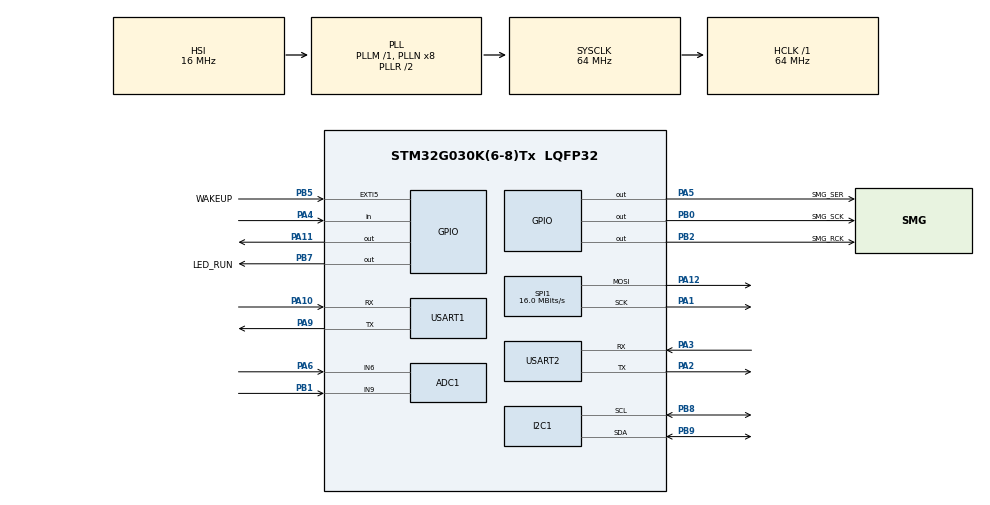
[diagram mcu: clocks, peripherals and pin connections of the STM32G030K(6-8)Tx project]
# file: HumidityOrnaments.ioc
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ADC1.Channel-0\#ChannelRegularConversion=ADC_CHANNEL_6
ADC1.Channel-1\#ChannelRegularConversion=ADC_CHANNEL_9
ADC1.Channel-2\#ChannelRegularConversion=ADC_CHANNEL_TEMPSENSOR
ADC1.Channel-3\#ChannelRegularConversion=ADC_CHANNEL_VREFINT
ADC1.Channel-4\#ChannelRegularConversion=ADC_CHANNEL_VBAT
ADC1.ContinuousConvMode=ENABLE
ADC1.DMAContinuousRequests=ENABLE
ADC1.NbrOfConversion=5
ADC1.NbrOfConversionFlag=1
ADC1.Rank-1\#ChannelRegularConversion=2
ADC1.Rank-2\#ChannelRegularConversion=3
ADC1.Rank-3\#ChannelRegularConversion=4
ADC1.Rank-4\#ChannelRegularConversion=5
ADC1.SamplingTime-1\#ChannelRegularConversion=ADC_SAMPLINGTIME_COMMON_1
ADC1.SamplingTime-2\#ChannelRegularConversion=ADC_SAMPLINGTIME_COMMON_1
ADC1.SamplingTime-3\#ChannelRegularConversion=ADC_SAMPLINGTIME_COMMON_1
ADC1.SamplingTime-4\#ChannelRegularConversion=ADC_SAMPLINGTIME_COMMON_1
ADC1.SamplingTimeCommon1=ADC_SAMPLETIME_160CYCLES_5
ADC1.SamplingTimeCommon2=ADC_SAMPLETIME_160CYCLES_5
ADC1.SelectedChannel=ADC_CHANNEL_6|ADC_CHANNEL_TEMPSENSOR|ADC_CHANNEL_VREFINT|ADC_CHANNEL_9|ADC_CHANNEL_VBAT
ADC1.master=1
Dma.ADC1.0.Direction=DMA_PERIPH_TO_MEMORY
Dma.ADC1.0.EventEnable=DISABLE
Dma.ADC1.0.Instance=DMA1_Channel1
Dma.ADC1.0.MemDataAlignment=DMA_MDATAALIGN_HALFWORD
Dma.ADC1.0.MemInc=DMA_MINC_ENABLE
Dma.ADC1.0.Mode=DMA_CIRCULAR
Dma.ADC1.0.PeriphDataAlignment=DMA_PDATAALIGN_HALFWORD
Dma.ADC1.0.PeriphInc=DMA_PINC_DISABLE
Dma.ADC1.0.Polarity=HAL_DMAMUX_REQ_GEN_RISING
Dma.ADC1.0.Priority=DMA_PRIORITY_MEDIUM
Dma.ADC1.0.RequestNumber=1
Dma.ADC1.0.SignalID=NONE
Dma.ADC1.0.SyncEnable=DISABLE
Dma.ADC1.0.SyncPolarity=HAL_DMAMUX_SYNC_NO_EVENT
Dma.ADC1.0.SyncRequestNumber=1
Dma.ADC1.0.SyncSignalID=NONE
Dma.Request0=ADC1
Dma.Request1=SPI1_TX
Dma.Request2=USART2_TX
Dma.Request3=USART2_RX
Dma.SPI1_TX.1.Direction=DMA_MEMORY_TO_PERIPH
Dma.SPI1_TX.1.EventEnable=DISABLE
Dma.SPI1_TX.1.Instance=DMA1_Channel5
Dma.SPI1_TX.1.MemDataAlignment=DMA_MDATAALIGN_BYTE
Dma.SPI1_TX.1.MemInc=DMA_MINC_ENABLE
Dma.SPI1_TX.1.Mode=DMA_NORMAL
Dma.SPI1_TX.1.PeriphDataAlignment=DMA_PDATAALIGN_BYTE
Dma.SPI1_TX.1.PeriphInc=DMA_PINC_DISABLE
Dma.SPI1_TX.1.Polarity=HAL_DMAMUX_REQ_GEN_RISING
Dma.SPI1_TX.1.Priority=DMA_PRIORITY_LOW
Dma.SPI1_TX.1.RequestNumber=1
Dma.SPI1_TX.1.SignalID=NONE
Dma.SPI1_TX.1.SyncEnable=DISABLE
Dma.SPI1_TX.1.SyncPolarity=HAL_DMAMUX_SYNC_NO_EVENT
Dma.SPI1_TX.1.SyncRequestNumber=1
Dma.SPI1_TX.1.SyncSignalID=NONE
Dma.USART2_RX.3.Direction=DMA_PERIPH_TO_MEMORY
Dma.USART2_RX.3.EventEnable=DISABLE
Dma.USART2_RX.3.Instance=DMA1_Channel3
Dma.USART2_RX.3.MemDataAlignment=DMA_MDATAALIGN_BYTE
Dma.USART2_RX.3.MemInc=DMA_MINC_ENABLE
Dma.USART2_RX.3.Mode=DMA_NORMAL
Dma.USART2_RX.3.PeriphDataAlignment=DMA_PDATAALIGN_BYTE
Dma.USART2_RX.3.PeriphInc=DMA_PINC_DISABLE
Dma.USART2_RX.3.Polarity=HAL_DMAMUX_REQ_GEN_RISING
Dma.USART2_RX.3.Priority=DMA_PRIORITY_LOW
Dma.USART2_RX.3.RequestNumber=1
Dma.USART2_RX.3.SignalID=NONE
Dma.USART2_RX.3.SyncEnable=DISABLE
Dma.USART2_RX.3.SyncPolarity=HAL_DMAMUX_SYNC_NO_EVENT
Dma.USART2_RX.3.SyncRequestNumber=1
Dma.USART2_RX.3.SyncSignalID=NONE
Dma.USART2_TX.2.Direction=DMA_MEMORY_TO_PERIPH
Dma.USART2_TX.2.EventEnable=DISABLE
Dma.USART2_TX.2.Instance=DMA1_Channel2
Dma.USART2_TX.2.MemDataAlignment=DMA_MDATAALIGN_BYTE
Dma.USART2_TX.2.MemInc=DMA_MINC_ENABLE
Dma.USART2_TX.2.Mode=DMA_NORMAL
Dma.USART2_TX.2.PeriphDataAlignment=DMA_PDATAALIGN_BYTE
Dma.USART2_TX.2.PeriphInc=DMA_PINC_DISABLE
Dma.USART2_TX.2.Polarity=HAL_DMAMUX_REQ_GEN_RISING
Dma.USART2_TX.2.Priority=DMA_PRIORITY_LOW
Dma.USART2_TX.2.RequestNumber=1
Dma.USART2_TX.2.SignalID=NONE
Dma.USART2_TX.2.SyncEnable=DISABLE
Dma.USART2_TX.2.SyncPolarity=HAL_DMAMUX_SYNC_NO_EVENT
Dma.USART2_TX.2.SyncRequestNumber=1
Dma.USART2_TX.2.SyncSignalID=NONE
I2C1.Timing=0x10B17DB5
Mcu.Family=STM32G0
Mcu.Name=STM32G030K(6-8)Tx
Mcu.Package=LQFP32
NVIC.ADC1_IRQn=true\:0\:0\:false\:false\:true\:true\:true\:true
NVIC.DMA1_Ch4_5_DMAMUX1_OVR_IRQn=true\:0\:0\:false\:false\:true\:false\:true\:true
NVIC.DMA1_Channel1_IRQn=true\:0\:0\:false\:false\:true\:false\:true\:true
NVIC.DMA1_Channel2_3_IRQn=true\:0\:0\:false\:false\:true\:false\:true\:true
NVIC.EXTI4_15_IRQn=true\:1\:0\:true\:false\:true\:true\:true\:true
NVIC.RTC_TAMP_IRQn=true\:1\:0\:true\:false\:true\:true\:true\:true
NVIC.TIM14_IRQn=true\:0\:0\:false\:false\:true\:true\:true\:true
NVIC.TIM16_IRQn=true\:0\:0\:false\:false\:true\:true\:true\:true
NVIC.TIM3_IRQn=true\:0\:0\:false\:false\:true\:true\:true\:true
NVIC.USART1_IRQn=true\:1\:0\:true\:false\:true\:true\:true\:true
NVIC.USART2_IRQn=true\:1\:0\:true\:false\:true\:true\:true\:true
PA1.Mode=TX_Only_Simplex_Unidirect_Master
PA1.Signal=SPI1_SCK
PA10.Mode=Asynchronous
PA10.Signal=USART1_RX
PA11\ [PA9].Signal=GPIO_Output
PA12\ [PA10].Mode=TX_Only_Simplex_Unidirect_Master
PA12\ [PA10].Signal=SPI1_MOSI
PA13.Mode=Serial_Wire
PA13.Signal=SYS_SWDIO
PA14-BOOT0.Mode=Serial_Wire
PA14-BOOT0.Signal=SYS_SWCLK
PA2.Mode=Asynchronous
PA2.Signal=USART2_TX
PA3.Mode=Asynchronous
PA3.Signal=USART2_RX
PA4.GPIO_PuPd=GPIO_PULLUP
PA4.Signal=GPIO_Input
PA5.GPIO_Label=SMG_SER
PA5.GPIO_Speed=GPIO_SPEED_FREQ_HIGH
PA5.Signal=GPIO_Output
PA6.Mode=IN6
PA6.Signal=ADC1_IN6
PA9.Mode=Asynchronous
PA9.Signal=USART1_TX
PB0.GPIO_Label=SMG_SCK
PB0.GPIO_Speed=GPIO_SPEED_FREQ_HIGH
PB0.Signal=GPIO_Output
PB1.Mode=IN9
PB1.Signal=ADC1_IN9
PB2.GPIO_Label=SMG_RCK
PB2.GPIO_Speed=GPIO_SPEED_FREQ_HIGH
PB2.Signal=GPIO_Output
PB5.GPIO_Label=WAKEUP
PB5.GPIO_ModeDefaultEXTI=GPIO_MODE_IT_FALLING
PB5.GPIO_PuPd=GPIO_PULLUP
PB5.Signal=GPXTI5
PB7.GPIO_Label=LED_RUN
PB7.Signal=GPIO_Output
PB8.Mode=I2C
PB8.Signal=I2C1_SCL
PB9.Mode=I2C
PB9.Signal=I2C1_SDA
PC14-OSC32_IN\ (PC14).Mode=LSE-External-Oscillator
PC14-OSC32_IN\ (PC14).Signal=RCC_OSC32_IN
PC15-OSC32_OUT\ (PC15).Mode=LSE-External-Oscillator
PC15-OSC32_OUT\ (PC15).Signal=RCC_OSC32_OUT
ProjectManager.HeapSize=0x200
ProjectManager.StackSize=0x400
ProjectManager.TargetToolchain=MDK-ARM V5.32
RCC.ADCFreq_Value=64000000
RCC.AHBFreq_Value=64000000
RCC.CortexFreq_Value=64000000
RCC.EXTERNAL_CLOCK_VALUE=12288000
RCC.EnableCSSLSE=true
RCC.HCLKFreq_Value=64000000
RCC.HSE_VALUE=8000000
RCC.HSI_VALUE=16000000
RCC.RTCClockSelection=RCC_RTCCLKSOURCE_LSE
RCC.SYSCLKFreq_VALUE=64000000
RCC.SYSCLKSource=RCC_SYSCLKSOURCE_PLLCLK
RCC.VCOOutputFreq_Value=128000000
RTC.Date=23
RTC.Format=RTC_FORMAT_BIN
RTC.Hours=15
RTC.Minutes=23
RTC.Month=RTC_MONTH_JULY
RTC.WakeUpClock-WakeUp=RTC_WAKEUPCLOCK_CK_SPRE_16BITS
RTC.WeekDay=RTC_WEEKDAY_TUESDAY
RTC.Year=24
SPI1.BaudRatePrescaler=SPI_BAUDRATEPRESCALER_4
SPI1.CLKPhase=SPI_PHASE_2EDGE
SPI1.CLKPolarity=SPI_POLARITY_HIGH
SPI1.CalculateBaudRate=16.0 MBits/s
SPI1.Direction=SPI_DIRECTION_2LINES
SPI1.Mode=SPI_MODE_MASTER
SPI1.VirtualType=VM_MASTER
TIM14.AutoReloadPreload=TIM_AUTORELOAD_PRELOAD_ENABLE
TIM14.Period=100-1
TIM14.Prescaler=6400-1
TIM16.AutoReloadPreload=TIM_AUTORELOAD_PRELOAD_ENABLE
TIM16.Period=20-1
TIM16.Prescaler=6400-1
TIM3.Prescaler=64-1
USART1.VirtualMode-Asynchronous=VM_ASYNC
USART2.VirtualMode-Asynchronous=VM_ASYNC
VP_ADC1_TempSens_Input.Mode=IN-TempSens
VP_ADC1_Vbat_Input.Mode=IN-Vbat
VP_ADC1_Vref_Input.Mode=IN-Vrefint
VP_RTC_VS_RTC_Activate.Mode=RTC_Enabled
VP_RTC_VS_RTC_Calendar.Mode=RTC_Calendar
VP_RTC_VS_RTC_WakeUp_intern.Mode=WakeUp
VP_TIM14_VS_ClockSourceINT.Mode=Enable_Timer
VP_TIM16_VS_ClockSourceINT.Mode=Enable_Timer
VP_TIM1_VS_ClockSourceINT.Mode=Internal
VP_TIM3_VS_ClockSourceINT.Mode=Internal
board=custom

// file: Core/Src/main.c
/* USER CODE BEGIN Header */
/**
 ******************************************************************************
 * @file           : main.c
 * @brief          : Main program body
 ******************************************************************************
 * @attention
 *
 * Copyright (c) 2024 STMicroelectronics.
 * All rights reserved.
 *
 * This software is licensed under terms that can be found in the LICENSE file
 * in the root directory of this software component.
 * If no LICENSE file comes with this software, it is provided AS-IS.
 *
 ******************************************************************************
 */
/* USER CODE END Header */
#include "main.h"
#include "adc.h"
#include "dma.h"
#include "i2c.h"
#include "rtc.h"
#include "spi.h"
#include "tim.h"
#include "usart.h"
#include "gpio.h"

/* USER CODE BEGIN Includes */
#include "LED.h"
#include "Key.h"
#include "stdio.h" //包含printf函数的头文件
#include <string.h>
#include "SHT40.h"
#include "SN74HC595.h"
#include "MCUTEMP.h"
#include <math.h>
#include "ws2812.h"

/* USER CODE END Includes */

/* USER CODE BEGIN PV */
/*
 * TIM3: us延时函数
 * TIM14: 100Hz任务调度
 * TIM16: 1000Hz数码管刷新
 */
/*i2c1*/
float temperature, humidity;
/*TIM14*/
uint8_t flag_TIM14;   // 100HZd==0.01s==10ms update interrupt
uint8_t EVENT_500ms;  // 500ms==50*flag_TIM1 update SMG
uint8_t EVENT_700ms;  // 700ms==70*flag_TIM1 Read SHT40
uint8_t EVENT_900ms;  // 900ms==90*flag_TIM1 print all DATA
uint8_t EVENT_1100ms; // 1100ms==110*flag_TIM1 SLPEE PWR_SLEEP
/*SN74HC595*/
uint8_t LED6[6];             // 显示缓存
uint8_t display_index;       // 显示位索引
uint16_t SIG_tem = 0;        // display temperature £¬ÐèÒªÈ¡Î»£¬%£¬ÐèÒªÕûÐÍ
uint16_t SIG_hum = 0;        // display humidity
uint16_t SIG_vol = 0;        // display voltage
uint16_t voltagePercent = 0; // 电压百分比
uint8_t display_flag = 0x00; // 显示标志位
/*KEY*/
uint8_t KEY_EVENT = 0x00; // 按键事件
/*ADC*/
#define INTERVREFINT 1.22       // 参考电压
#define CHANNELNUM 5            // 通道5
uint16_t ADC_value[CHANNELNUM]; // DMA传输ADC采集值变量内存数量
uint16_t VREFINT_CAL;
/*
*cubemx中的Rank就是DMA的通道对应的ADC通道
[0]:ADC1_IN6 PA6 光强
[1]:ADC1_IN9 PB1 电池电压
[2]:Temperature Sensor Channel
[3]:Vrefint Channel
[4]:Vbat Channel
*/
float voltageValue[CHANNELNUM];
float vrefint = 0;
float mcutem = 0;

/*SLEEP*/
// 功能设计：开机默认运行3500ms(保证运行3次EVENT_1100ms事件)
//--->关闭TIM0,TIM1定时中断，停止ADC_DMA(SLEEP模式外设仍工作，手动停止)，关闭SYSTICK中断，进入PWR_SLEEP模式，关灯，设置挡位错开
//--->控制SN74HC595的输出，使得LED6的显示全部关闭
//--->等待WFI触发退出SLEEP，恢复系统时钟中断，恢复TIM0,TIM1定时中断，开启ADC_DMA，开启SYSTICK中断，打开LED，设置挡位正常
#define SLEEP_COUNTDOWN 10 // 睡眠倒计时，或说睡眠前显示的倒计回合数
uint8_t flag_SLEEP = 0;    // 睡眠标志
uint8_t EVENT_1100ms_cnt = 0;

/*BULETOOTH*/
uint8_t receiveData[50];   // 接收数据
char txData[] = "AT+VERS"; // 数据
uint8_t SUM = 0;
extern DMA_HandleTypeDef hdma_usart2_tx;
extern DMA_HandleTypeDef hdma_usart2_rx;

/*KEYCHANGE*/
typedef enum
{
  MODE1,
  MODE2,
  MODE3
} DisplayMode;

DisplayMode currentMode = MODE1;

/*RTC*/
// uint8_t TimeStr[20];

// uint8_t proBuffer[10];
// uint8_t rxBuffer[10];
/* USER CODE END PV */

void SystemClock_Config(void);

/* USER CODE BEGIN 0 */
/*__RE-CODE printf()__*/
UART_HandleTypeDef *current_huart = &huart1;
int fputc(int ch, FILE *f)
{
  uint8_t temp[1] = {ch};
  HAL_UART_Transmit(current_huart, temp, 1, 2);
  return ch;
}

/*TIM*/
void HAL_TIM_PeriodElapsedCallback(TIM_HandleTypeDef *htim)
{
  if (htim->Instance == htim14.Instance)
  {
    flag_TIM14 = 1;
    if (EVENT_1100ms_cnt >= SLEEP_COUNTDOWN)
    {
      flag_SLEEP = 1;
    }
  }
  if (htim->Instance == htim16.Instance)
  {
    Display_Scan();
  }
}

/*WEAK(注意只有一个中断线)*/
// 0x01:KEY_WAKEUP_GPIO_Port, KEY_WAKEUP_Pin, KEY_WAKEUP_EXTI_IRQn  -----EXIT line15 interrupt PB5
// 0x02:KEY_GPIO_Port, KEY_Pin, KEY_UP_EXTI_IRQn  -----EXIT line7 interrupt PA7
#define KEY_EVENT_WAKE_STATUS() HAL_GPIO_ReadPin(WAKEUP_GPIO_Port, WAKEUP_Pin) // 消抖标志位
// #define KEY_EVENT_STATUS() HAL_GPIO_ReadPin(KEY_GPIO_Port, KEY_Pin)            // 消抖标志位

/*按内部电压转换各个通道的校准值*/
void convertCALvoltage(void)
{
  uint8_t i;
  vrefint = INTERVREFINT / ADC_value[3]; // 首先读取VREF的电压对应的ADC值，又已知STM32F103C8T6内部电压值默认为1.2V，因此读取到的数值和默认值做比例算术，可以获得一个比值，这个比例将作为其他通道的换算比例，实现使用内部参考电压校准其他ADC采样通道
  for (i = 0; i < CHANNELNUM; i++)
  {
    /* code */
    voltageValue[i] = (float)ADC_value[i] * vrefint; // 校准ADC采样值，得到实际电压
    mcutem = (ADC_value[2] - 1042) * (1 / 2.5) + 30;
    double absolute_value = fabs(mcutem);
    mcutem = (float)absolute_value;
  }
}

uint16_t Get_VREFINT_CAL(void)
{
  return *(__IO uint16_t *)(0x1FFF75A8);
}

void SMG_Display(uint8_t display_flag)
{
  uint16_t SIG_tem = 0; // display temperature
  uint16_t SIG_hum = 0; // display humidity
  // uint16_t SIG_vol = 0; // display voltage
  switch (display_flag)
  {
  case 0x00: // 显示温湿度
    SIG_tem = temperature * 10;
    SIG_hum = humidity * 10;
    LED6[3] = (uint8_t)(SIG_tem / 100);
    LED6[4] = (uint8_t)((SIG_tem % 100) / 10);
    LED6[4] |= 0x20; // 显示小数点
    LED6[5] = (uint8_t)(SIG_tem % 10);

    LED6[0] = (uint8_t)(SIG_hum / 100);
    LED6[1] = (uint8_t)((SIG_hum % 100) / 10);
    LED6[1] |= 0x20; // 显示小数点
    LED6[2] = (uint8_t)(SIG_hum % 10);
    break;
  case 0x01: // 显示电量和光强
    LED6[3] = SIG_vol / 100;
    LED6[3] |= 0x20; // 显示小数点
    LED6[4] = SIG_vol / 10 % 10;
    LED6[5] = SIG_vol % 10;

    LED6[0] = (uint8_t)(voltagePercent / 100);
    LED6[1] = (uint8_t)((voltagePercent % 100) / 10);
    LED6[1] |= 0x20; // 显示小数点
    LED6[2] = (uint8_t)(voltagePercent % 10);
    // LED6[0] = (uint8_t)(voltageValue[0] / 1000);
    // LED6[1] = (uint8_t)(voltageValue[0] / 100 % 10);
    // LED6[2] = (uint8_t)(voltageValue[0] / 10 % 10);
    break;
  case 0x02: // 显示上位机发送的时间
    // LED6[3] = 0x10;
    // // LED6[4] = proBuffer[0];
    // // LED6[4] |= 0x20; // 显示小数点
    // LED6[5] = proBuffer[1];

    // LED6[0] = 0x10;
    // LED6[1] = proBuffer[2];
    // LED6[2] = proBuffer[3];
    break;
  default:
    LED6_RST();
    break;
  }
}

void HAL_UARTEx_RxEventCallback(UART_HandleTypeDef *huart, uint16_t Size)
{
  if (huart == &huart2)
  {
    HAL_UART_Transmit_DMA(&huart2, receiveData, Size);
    HAL_UARTEx_ReceiveToIdle_DMA(&huart2, receiveData, sizeof(receiveData)); // 串口不定长数据接收
    __HAL_DMA_DISABLE_IT(&hdma_usart2_rx, DMA_IT_HT);                        // 关闭DMA接收过半中断
  }
}

/* USER CODE END 0 */

int main(void)
{

  /* USER CODE BEGIN 1 */
  uint8_t i;
  /* USER CODE END 1 */

  /* MCU Configuration--------------------------------------------------------*/

  /* Reset of all peripherals, Initializes the Flash interface and the Systick. */
  HAL_Init();

  /* Configure the system clock */
  SystemClock_Config();

  /* Initialize all configured peripherals */
  MX_GPIO_Init();
  MX_DMA_Init();
  MX_TIM1_Init();
  MX_USART1_UART_Init();
  MX_RTC_Init();
  MX_TIM3_Init();
  MX_ADC1_Init();
  MX_I2C1_Init();
  MX_TIM14_Init();
  MX_TIM16_Init();
  MX_USART2_UART_Init();
  MX_SPI1_Init();
  /* USER CODE BEGIN 2 */
  // 初始化LED
  LED_Init(0x00);
  // 初始化串口
  // uint8_t hello1[] = "Hello,blocking\n";
  // HAL_UART_Transmit(&huart1, hello1, sizeof(hello1), 500); // 阻塞式发送
  // HAL_Delay(10);
  // uint8_t hello2[] = "Hello, none blocking\n";
  // HAL_UART_Transmit_IT(&huart1, hello2, sizeof(hello2)); // 非阻塞式发送

  // HAL_UART_Receive_IT(&huart1, rxBuffer, RX_CMD_LEN); // 串口不定长数据接收
  HAL_UART_AbortTransmit(&huart1);
  // HAL_UART_AbortTransmit(&huart2);
  /*注意一定要启动定时器中断，使能TIM1-NVIC*/
  HAL_TIM_Base_Start_IT(&htim14);
  HAL_TIM_Base_Start_IT(&htim16);
  HAL_TIM_Base_Start_IT(&htim3);
  HAL_TIM_Base_Start_IT(&htim1);
  /*SN74HC595*/
  for (i = 0; i < 6; i++)
    LED6[i] = DIS_BLACK; // 上电消隐
  /*ADC*/
  HAL_ADCEx_Calibration_Start(&hadc1);     // 校准ADC
  HAL_NVIC_DisableIRQ(DMA1_Channel1_IRQn); // DMA1通道1使能
  HAL_ADC_Start_DMA(&hadc1, (uint32_t *)ADC_value, 5);
  // VREFINT_CAL=Get_VREFINT_CAL();
  HAL_Delay(100); // 等待ADC校准完成
  /*bluetooth*/
  HAL_UARTEx_ReceiveToIdle_DMA(&huart2, receiveData, sizeof(receiveData)); // 串口不定长数据接收
  __HAL_DMA_DISABLE_IT(&hdma_usart2_tx, DMA_IT_HT);                        // 关闭DMA接收过半中断
  // PRINTF_HC05("HC05 init\r\n");
  /* USER CODE END 2 */

  /* Infinite loop */
  /* USER CODE BEGIN WHILE */
  while (1)
  {
    if (1 == flag_TIM14)
    {
      flag_TIM14 = 0;
      if (++EVENT_700ms >= 70)
      {
        EVENT_700ms = 0;
        SHT40_Read(&humidity, &temperature);
        // TOG_LED_2();
      }
      if (++EVENT_500ms >= 50)
      {
        EVENT_500ms = 0;
        // SMG_Display(display_flag);
        // printf("EVENT_500ms\r\n");
        convertCALvoltage();
        SMG_Display(display_flag);
      }
      if (++EVENT_900ms >= 90)
      {
        EVENT_900ms = 0;
        TOG_LED_1();

        SIG_vol = voltageValue[1] * 100 * 2.0;
        voltagePercent = (voltageValue[1] * 2.0 / 4.2) * 1000;
        PRINTF_PC("Humidity:%.2f %% Temperature:%.2f C ADC3:%.2f  ADC4:%.2f  VCAL:%.2f   DIS:%.2d\r\n", voltageValue[0], voltageValue[1], mcutem, voltageValue[3], voltageValue[4], voltagePercent);
        // PRINTF_HC05("Humidity:%.2f %% Temperature:%.2f C ADC3:%.2f  ADC4:%.2f VCAL:%.2f  DIS:%.2d\r\n", voltageValue[0], voltageValue[1], mcutem, voltageValue[3], voltageValue[4], display_flag);
        // PRINTF_HC05("Humidity:%.2d %% Temperature:%.2d C\r\n", ADC_value[3], ADC_value[4]);
        //  LED6[3] = (uint8_t)(Voltage / 100);
        //  LED6[4] = (uint8_t)((Voltage % 100) / 10);
        //  LED6[4] |= 0x20; // 显示小数位
        //  LED6[5] = (uint8_t)(Voltage % 10);
        //  printf("EVENT_900ms\r\n");
      }
      if (++EVENT_1100ms >= 110)
      {
        EVENT_1100ms = 0;
        EVENT_1100ms_cnt++; // EVENT_1100ms事件计数，超过3次后，再下一次进入TIM14中断，将flag_SLEEP置1，进入SLEEP模式
        // TOG_LED_2();
        // if (voltageValue[0] >= 1.5)
        // {
        //   TOG_LED_2();
        // }
        // HAL_UART_Receive(&huart2, &rx, 1, HAL_MAX_DELAY);
        // if (rx=='1')
        // {
        //   TOG_LED_2();
        //   /* code */
        // }

        /* code */
      }
    }
    if (KEY_EVENT != 0) // 存在按键触发未触发
    {
      if ((KEY_EVENT & 0x01) != 0)
      {
        KEY_EVENT &= ~0x01;  // 清除对应标志位
        display_flag = 0x01; // 显示电池电压
      }
      if ((KEY_EVENT & 0x04) != 0)
      {
        KEY_EVENT &= ~0x04;  // 清除对应标志位
        display_flag = 0x00; // 默认显示温湿度
      }
    }
    if (flag_SLEEP == 1) // 进入SLEEP模式
    {
      HAL_ADC_Stop_DMA(&hadc1);                                         // 手动停止ADC DMA传输
      HAL_TIM_Base_Stop_IT(&htim14);                                    // 关闭TIM14中断
      LED6_RST();                                                       // 优化唤醒显示（SMG全部关闭）
      HAL_Delay(6);                                                     // 留出时间给TIM16更新显示,彻底进入消隐
      HAL_TIM_Base_Stop_IT(&htim16);                                    // 关闭TIM16中断
      LED_Init(0x00);                                                   // 关闭LED
      display_flag = 0x11;                                              // 显示挡位切换到未用挡位上，防止下一次唤醒进入上一次的显示挡位
      HAL_SuspendTick();                                                // 暂停滴答定时器，防止通过滴答定时器中断唤醒
      HAL_PWR_EnterSLEEPMode(PWR_MAINREGULATOR_ON, PWR_SLEEPENTRY_WFI); // 执行WFI指令,进入SLEEP模式
    }
  }

  /* USER CODE END WHILE */

}

void SystemClock_Config(void)
{
  RCC_OscInitTypeDef RCC_OscInitStruct = {0};
  RCC_ClkInitTypeDef RCC_ClkInitStruct = {0};

  /** Configure the main internal regulator output voltage
   */
  HAL_PWREx_ControlVoltageScaling(PWR_REGULATOR_VOLTAGE_SCALE1);

  /** Configure LSE Drive Capability
   */
  HAL_PWR_EnableBkUpAccess();
  __HAL_RCC_LSEDRIVE_CONFIG(RCC_LSEDRIVE_LOW);

  /** Initializes the RCC Oscillators according to the specified parameters
   * in the RCC_OscInitTypeDef structure.
   */
  RCC_OscInitStruct.OscillatorType = RCC_OSCILLATORTYPE_HSI | RCC_OSCILLATORTYPE_LSE;
  RCC_OscInitStruct.LSEState = RCC_LSE_ON;
  RCC_OscInitStruct.HSIState = RCC_HSI_ON;
  RCC_OscInitStruct.HSIDiv = RCC_HSI_DIV1;
  RCC_OscInitStruct.HSICalibrationValue = RCC_HSICALIBRATION_DEFAULT;
  RCC_OscInitStruct.PLL.PLLState = RCC_PLL_ON;
  RCC_OscInitStruct.PLL.PLLSource = RCC_PLLSOURCE_HSI;
  RCC_OscInitStruct.PLL.PLLM = RCC_PLLM_DIV1;
  RCC_OscInitStruct.PLL.PLLN = 8;
  RCC_OscInitStruct.PLL.PLLP = RCC_PLLP_DIV2;
  RCC_OscInitStruct.PLL.PLLR = RCC_PLLR_DIV2;
  if (HAL_RCC_OscConfig(&RCC_OscInitStruct) != HAL_OK)
  {
    Error_Handler();
  }

  /** Initializes the CPU, AHB and APB buses clocks
   */
  RCC_ClkInitStruct.ClockType = RCC_CLOCKTYPE_HCLK | RCC_CLOCKTYPE_SYSCLK | RCC_CLOCKTYPE_PCLK1;
  RCC_ClkInitStruct.SYSCLKSource = RCC_SYSCLKSOURCE_PLLCLK;
  RCC_ClkInitStruct.AHBCLKDivider = RCC_SYSCLK_DIV1;
  RCC_ClkInitStruct.APB1CLKDivider = RCC_HCLK_DIV1;

  if (HAL_RCC_ClockConfig(&RCC_ClkInitStruct, FLASH_LATENCY_2) != HAL_OK)
  {
    Error_Handler();
  }

  /** Enables the Clock Security System
   */
  HAL_RCC_EnableLSECSS();
}

/* USER CODE BEGIN 4 */
// void HAL_GPIO_EXTI_Callback(uint16_t GPIO_Pin)
// {
//   if (GPIO_Pin == WAKEUP_Pin)
//   {

//     if (GPIO_PIN_SET == KEY_EVENT_WAKE_STATUS()) /* condition */
//     {
//       TOG_LED_2();
//       KEY_EVENT |= 0x00; /* code */
//     }
//   }
//   // if (GPIO_Pin == KEY_Pin)
//   // {
//   //   if (GPIO_PIN_RESET == KEY_EVENT_STATUS()) /* condition */
//   //   {
//   //     KEY_EVENT |= 0x04; /* code */
//   //   }
//   // }
// }

void HAL_GPIO_EXTI_Falling_Callback(uint16_t GPIO_Pin)
{
  if (flag_SLEEP == 1) // 若按键按下，在睡眠模式，则唤醒。防止未休眠反复唤醒
  {
    flag_SLEEP = 0;
    HAL_ADC_Start_DMA(&hadc1, (uint32_t *)ADC_value, 5);
    HAL_TIM_Base_Start_IT(&htim14);
    HAL_TIM_Base_Start_IT(&htim16);
    HAL_ResumeTick(); // 恢复系统时钟中断
    /*恢复系统时钟中断，MCU才能回到SLEEP前的状态并正常运行*/
  }
  // 每次按键按下，刷新睡眠倒计时，重新开始倒计时
  EVENT_1100ms_cnt = 0;
  if (GPIO_Pin == WAKEUP_Pin)
  {
    if (GPIO_PIN_RESET == KEY_EVENT_WAKE_STATUS()) // 若确实按下，注意外部硬件上拉了
    {
      // TOG_LED_2();
      // KEY_EVENT = 0x04; // KEY执行触发事件，系统未处理可叠加
      switch (currentMode)
      {
      case MODE1:
        currentMode = MODE2;
        KEY_EVENT = 0x01;
        break;
      case MODE2:
        currentMode = MODE1;
        KEY_EVENT = 0x04;
        break;
      }
    }
    // if (GPIO_Pin == KEY_Pin)
    //   {
    //     if (GPIO_PIN_RESET == KEY_EVENT_STATUS()) /* condition */
    //     {
    //       KEY_EVENT |= 0x04; /* code */
    //     }
    //   }
  }
}

// void HAL_UARTEx_RxEventCallback(UART_HandleTypeDef *huart, uint16_t Size)
// {
//   if (huart == &huart2)
//   {
//     HAL_UART_Transmit_DMA(&huart2, receiveData, sizeof(receiveData));
//     // if (receiveData[0]==0xAA)//验证数据包第0位是否是我们规定的包头0xAA
//     // {
//     //   TOG_LED_2();
//     //   // if (receiveData[1] == Size)//数据包第一位就是数据包长度
//     //   // {
//     //   //   /*校验和的计算*/
//     //   //   uint8_t checkSum = 0;
//     //   //   for (int i = 0; i < Size-1; i++)
//     //   //   {
//     //   //     checkSum += receiveData[i];
//     //   //   }
//     //   //   if (checkSum==receiveData[Size-1])//校验和是否正确
//     //   //   {
//     //   //     SUM = checkSum;
//     //   //     for (int i = 2; i < Size - 1; i += 2)
//     //   //     {
//     //   //       //解析数据包

//     //   //       if (receiveData[i+1]==0x00)
//     //   //       {
//     //   //         if (receiveData[i] == 0x01) // 蓝色小灯
//     //   //         {
//     //   //           // TOG_LED_2();
//     //   //         }
//     //   //       }
//     //   //     }

//     //   //   }

//     //   // }

//     // }

//     HAL_UARTEx_ReceiveToIdle_DMA(&huart2, receiveData, sizeof(receiveData)); // 串口不定长数据接收
//     __HAL_DMA_DISABLE_IT(&hdma_usart2_tx, DMA_IT_HT);                        // 关闭DMA接收过半中断
//   }
// }
/* USER CODE END 4 */

void Error_Handler(void)
{
  __disable_irq();
  while (1)
  {
  }
}
